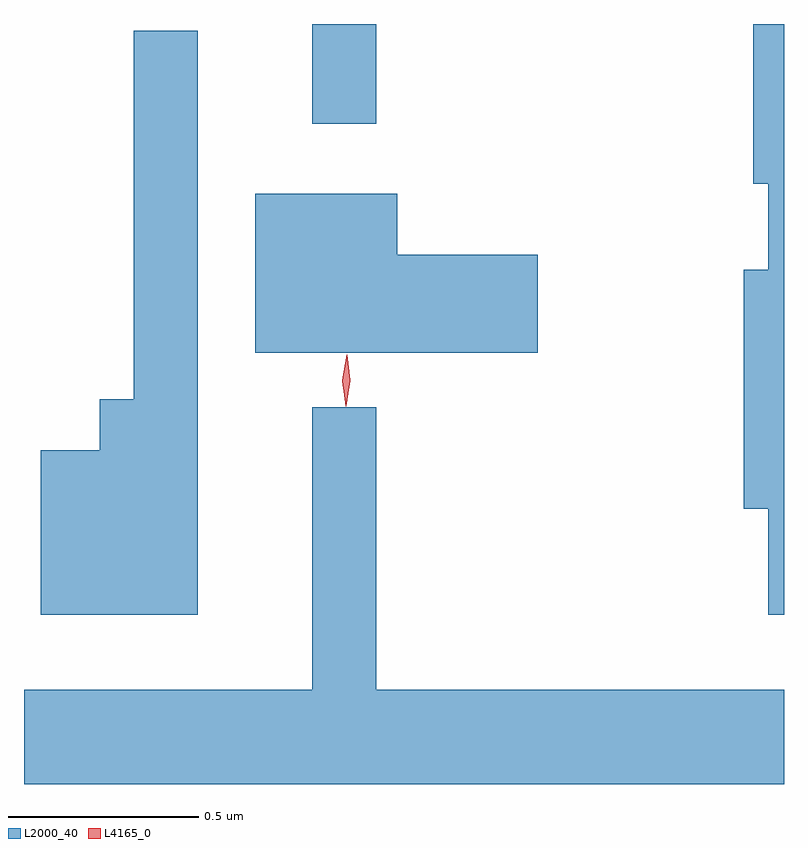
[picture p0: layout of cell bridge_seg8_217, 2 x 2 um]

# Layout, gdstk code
import gdstk
lib = gdstk.Library(unit=1e-6, precision=1e-09)
def R(c, l, rs):  # rectangles x0, y0, x1, y1
    for r in rs: c.add(gdstk.rectangle(r[:2], r[2:], *l))
def P(c, l, *ps):  # polygons
    for p in ps: c.add(gdstk.Polygon(p, *l))
L2000_40 = (2000, 40)
L4165_0 = (4165, 0)

bridge_seg8_217 = lib.new_cell('bridge_seg8_217')
R(bridge_seg8_217, L2000_40, [(1221.301,1898.113,1221.469,1898.376)])
P(bridge_seg8_217, L2000_40, [(1222.542,1898.376),(1222.461,1898.376),(1222.461,1897.956),(1222.501,1897.956),(1222.501,1897.729),(1222.436,1897.729),(1222.436,1897.101),(1222.501,1897.101),(1222.501,1896.821),(1222.542,1896.821)],
  [(1220.999,1898.358),(1220.831,1898.358),(1220.831,1897.389),(1220.741,1897.389),(1220.741,1897.254),(1220.586,1897.254),(1220.586,1896.821),(1220.999,1896.821)],
  [(1221.894,1897.769),(1221.524,1897.769),(1221.524,1897.929),(1221.151,1897.929),(1221.151,1897.511),(1221.894,1897.511)],
  [(1222.542,1896.624),(1221.469,1896.624),(1221.469,1897.368),(1221.301,1897.368),(1221.301,1896.624),(1220.542,1896.624),(1220.542,1896.376),(1222.542,1896.376)])
P(bridge_seg8_217, L4165_0, [(1221.389,1897.373),(1221.389,1897.374),(1221.38,1897.436),(1221.391,1897.499),(1221.391,1897.5),(1221.392,1897.499),(1221.4,1897.436),(1221.39,1897.374)],
  [(1221.389,1897.37),(1221.38,1897.438),(1221.391,1897.505),(1221.391,1897.506),(1221.392,1897.505),(1221.4,1897.438),(1221.39,1897.37),(1221.39,1897.37)])

lib.write_gds('bridge_seg8_217.gds')
